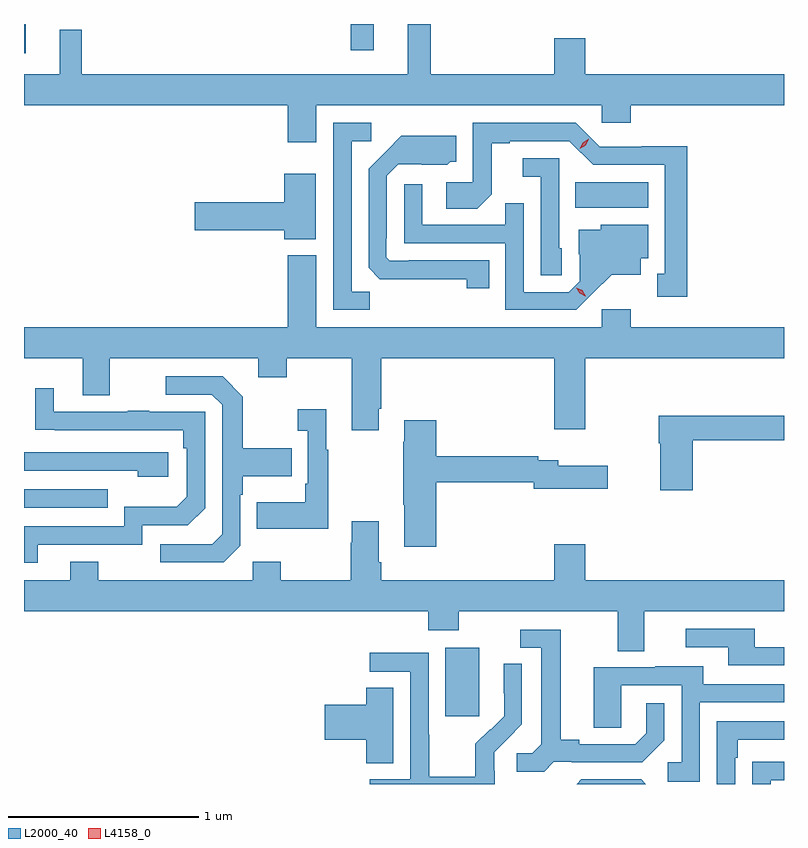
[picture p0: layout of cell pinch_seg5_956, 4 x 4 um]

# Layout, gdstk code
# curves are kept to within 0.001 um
import gdstk
lib = gdstk.Library(unit=1e-6, precision=1e-09)
def R(c, l, rs):  # rectangles x0, y0, x1, y1
    for r in rs: c.add(gdstk.rectangle(r[:2], r[2:], *l))
def P(c, l, *ps):  # polygons
    for p in ps: c.add(gdstk.Polygon(p, *l))
L2000_40 = (2000, 40)
L4158_0 = (4158, 0)

pinch_seg5_956 = lib.new_cell('pinch_seg5_956')
R(pinch_seg5_956, L2000_40, [(751.847,909.489,752.026,909.85), (749.629,910.587,750.071,910.683), (752.53,912.164,752.914,912.298), (749.629,912.978,749.638,913.132), (751.35,912.993,751.471,913.132)])
P(pinch_seg5_956, L2000_40, [(751.168,912.704),(752.67,912.704),(752.67,912.611),(752.822,912.611),(752.822,912.704),(753.629,912.704),(753.629,912.868),(752.584,912.868),(752.584,913.057),(752.42,913.057),(752.42,912.868),(751.771,912.868),(751.771,913.132),(751.649,913.132),(751.649,912.868),(749.933,912.868),(749.933,913.102),(749.816,913.102),(749.816,912.868),(749.629,912.868),(749.629,912.704),(751.016,912.704),(751.016,912.51),(751.168,912.51)],
  [(751.449,911.723),(751.353,911.723),(751.353,912.516),(751.456,912.516),(751.456,912.612),(751.257,912.612),(751.257,911.628),(751.449,911.628)],
  [(753.121,912.488),(752.88,912.488),(752.88,912.486),(752.658,912.486),(752.532,912.612),(751.992,912.612),(751.992,912.3),(751.851,912.3),(751.851,912.16),(752.015,912.16),(752.091,912.236),(752.091,912.504),(752.185,912.504),(752.185,912.516),(752.499,912.516),(752.625,912.39),(753.002,912.39),(753.002,911.817),(752.963,911.817),(752.963,911.697),(753.121,911.697)],
  [(752.078,911.889),(751.654,911.889),(751.654,911.886),(751.554,911.886),(751.536,911.904),(751.536,912.004),(751.539,912.004),(751.539,912.333),(751.599,912.393),(751.856,912.392),(751.872,912.408),(751.903,912.408),(751.903,912.544),(751.615,912.544),(751.443,912.37),(751.443,911.848),(751.502,911.789),(751.96,911.788),(751.96,911.742),(752.078,911.742)],
  [(752.46,911.952),(752.445,911.952),(752.445,912.426),(752.253,912.426),(752.253,912.329),(752.349,912.329),(752.349,911.809),(752.46,911.809)],
  [(751.165,912.343),(750.998,912.343),(750.998,912.194),(750.528,912.194),(750.528,912.047),(750.998,912.047),(750.998,911.999),(751.165,911.999)],
  [(752.62,911.711),(752.723,911.813),(752.875,911.813),(752.875,911.9),(752.914,911.9),(752.914,912.076),(752.664,912.076),(752.664,912.049),(752.549,912.049),(752.549,911.92),(752.553,911.92),(752.553,911.778),(752.496,911.721),(752.259,911.721),(752.259,912.188),(752.161,912.188),(752.161,912.075),(751.725,912.075),(751.725,912.289),(751.629,912.289),(751.629,911.979),(752.163,911.979),(752.163,911.628),(752.536,911.628)],
  [(751.495,911.107),(751.508,911.107),(751.508,911.372),(752.42,911.372),(752.42,910.998),(752.584,910.998),(752.584,911.372),(753.629,911.372),(753.629,911.536),(752.822,911.536),(752.822,911.632),(752.67,911.632),(752.67,911.536),(751.168,911.536),(751.168,911.914),(751.016,911.914),(751.016,911.536),(749.629,911.536),(749.629,911.372),(749.939,911.372),(749.939,911.178),(750.079,911.178),(750.079,911.372),(750.863,911.372),(750.863,911.273),(751.011,911.273),(751.011,911.372),(751.355,911.372),(751.355,910.995),(751.495,910.995)],
  [(750.768,910.386),(750.768,910.655),(750.781,910.655),(750.781,910.751),(751.037,910.751),(751.037,910.899),(750.781,910.899),(750.781,911.171),(750.675,911.277),(750.375,911.277),(750.375,911.181),(750.618,911.181),(750.672,911.127),(750.672,910.446),(750.621,910.395),(750.345,910.395),(750.345,910.299),(750.681,910.299)],
  [(749.701,910.392),(750.252,910.392),(750.252,910.494),(750.492,910.494),(750.582,910.584),(750.582,911.091),(750.287,911.091),(750.287,911.096),(750.175,911.096),(750.175,911.091),(749.785,911.091),(749.785,911.215),(749.689,911.215),(749.689,910.996),(750.466,910.995),(750.466,910.898),(750.486,910.898),(750.486,910.644),(750.433,910.591),(750.156,910.591),(750.156,910.488),(749.629,910.488),(749.629,910.296),(749.701,910.296)],
  [(751.231,910.891),(751.219,910.891),(751.219,911.104),(751.071,911.104),(751.071,910.991),(751.122,910.991),(751.122,910.711),(751.11,910.711),(751.11,910.615),(750.853,910.615),(750.853,910.475),(751.231,910.475)],
  [(753.149,910.942),(753.629,910.942),(753.629,911.071),(752.971,911.071),(752.971,910.925),(752.978,910.925),(752.978,910.677),(753.149,910.677)],
  [(751.799,910.72),(752.312,910.72),(752.312,910.685),(752.701,910.685),(752.701,910.807),(752.44,910.807),(752.44,910.836),(752.336,910.836),(752.336,910.856),(751.799,910.856),(751.799,911.047),(751.631,911.047),(751.631,910.934),(751.624,910.934),(751.624,910.603),(751.631,910.603),(751.631,910.38),(751.799,910.38)],
  [(750.388,910.878),(749.629,910.878),(749.629,910.782),(750.227,910.782),(750.227,910.748),(750.388,910.748)],
  [(752.893,910.04),(753.629,910.04),(753.629,910.204),(752.584,910.204),(752.584,910.393),(752.42,910.393),(752.42,910.204),(751.508,910.204),(751.508,910.3),(751.495,910.3),(751.495,910.516),(751.355,910.516),(751.355,910.403),(751.348,910.403),(751.348,910.204),(750.981,910.204),(750.981,910.303),(750.834,910.303),(750.834,910.204),(750.021,910.204),(750.021,910.303),(749.873,910.303),(749.873,910.204),(749.629,910.204),(749.629,910.04),(751.757,910.04),(751.757,909.941),(751.917,909.941),(751.917,910.04),(752.753,910.04),(752.753,909.832),(752.893,909.832)],
  [(753.629,909.852),(753.475,909.852),(753.475,909.948),(753.111,909.948),(753.111,909.852),(753.335,909.852),(753.335,909.756),(753.629,909.756)],
  [(752.418,909.249),(752.512,909.249),(752.512,909.246),(752.884,909.246),(753,909.362),(753,909.556),(752.903,909.556),(752.903,909.399),(752.846,909.342),(752.551,909.342),(752.551,909.365),(752.455,909.365),(752.455,909.945),(752.241,909.945),(752.241,909.849),(752.351,909.849),(752.351,909.341),(752.304,909.294),(752.223,909.294),(752.223,909.197),(752.366,909.197)],
  [(752.106,909.201),(752.104,909.201),(752.104,909.298),(752.25,909.446),(752.25,909.764),(752.154,909.764),(752.154,909.61),(752.156,909.61),(752.156,909.488),(752.085,909.417),(752.082,909.42),(752.005,909.343),(752.005,909.169),(751.761,909.169),(751.761,909.392),(751.758,909.392),(751.758,909.822),(751.449,909.822),(751.449,909.723),(751.662,909.723),(751.662,909.156),(751.449,909.156),(751.449,909.132),(752.106,909.132)],
  [(753.186,909.561),(753.629,909.561),(753.629,909.657),(753.205,909.657),(753.205,909.751),(752.951,909.751),(752.951,909.747),(752.627,909.747),(752.627,909.427),(752.772,909.427),(752.772,909.651),(753.09,909.651),(753.09,909.246),(753.018,909.246),(753.018,909.145),(753.186,909.145)],
  [(751.573,909.638),(751.43,909.638),(751.43,909.548),(751.212,909.548),(751.212,909.365),(751.43,909.365),(751.43,909.241),(751.573,909.241)],
  [(753.372,909.269),(753.385,909.269),(753.385,909.366),(753.629,909.366),(753.629,909.462),(753.276,909.462),(753.276,909.132),(753.372,909.132)],
  [(753.559,909.153),(753.629,909.153),(753.629,909.249),(753.565,909.249),(753.565,909.248),(753.463,909.248),(753.463,909.132),(753.559,909.132)],
  [(752.877,909.156),(752.562,909.156),(752.538,909.132),(752.901,909.132)])
P(pinch_seg5_956, L4158_0, [(752.553,912.475),(752.553,912.475),(752.57,912.508),(752.601,912.528),(752.602,912.528),(752.602,912.528),(752.585,912.495),(752.554,912.475)],
  [(752.584,911.7),(752.554,911.715),(752.536,911.744),(752.536,911.744),(752.536,911.744),(752.567,911.73),(752.585,911.7),(752.585,911.7)])

lib.write_gds('pinch_seg5_956.gds')
